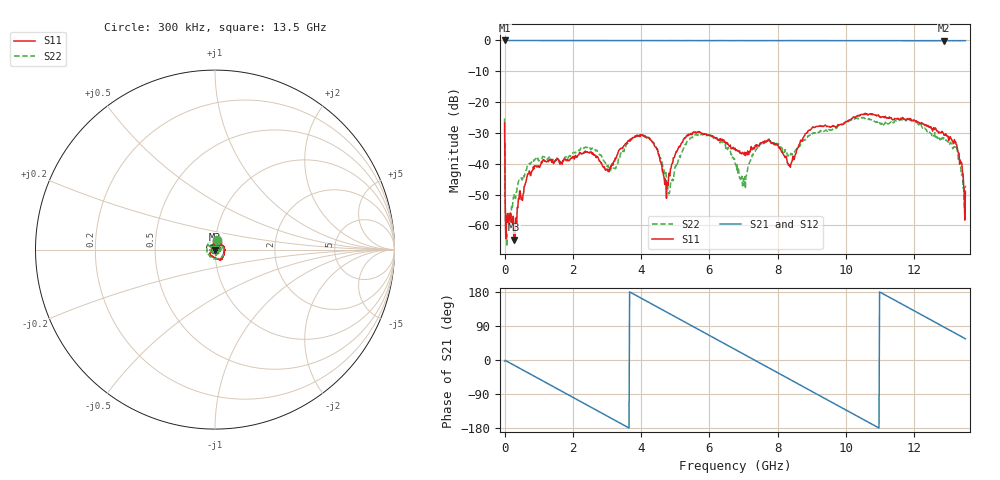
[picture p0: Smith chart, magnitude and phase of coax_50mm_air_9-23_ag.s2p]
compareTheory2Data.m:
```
%compareTheory2data
eps0=8.85418782e-12; % F/m
mu0=1.2566370614e-6; % H/m
c0=1/sqrt(eps0*mu0);
eta0=sqrt(mu0/eps0); % free space
material_width = 1.78e-3;
device_length = 41e-3;
l = (device_length - material_width)/2;
t = material_width;
%%
%Theoretical values
load(sprintf('%s\\Materials\\dd13490_data.mat',pwd))
permittivity = real_mittiv - 1i*imag_mittiv;
permeability = real_meab - 1i*imag_meab;
[t11,t21] = generateSParamters2(permittivity,permeability,device_length,material_width,frequency*1e9);
t_frequency = frequency*1e9;
tk0 = 2*pi*t_frequency/c0;
%%
% Measured Values
airFile = 'coax_50mm_air_9-23_ag.s2p';
filelength = 203;
fftlength = 801;
[a11,a21,a12,a22,a_frequency] = s2pToComplexSParam(airFile,filelength);
materialFile = 'coax_50mm_dd13490_1p78mm_9-20_RS.dat';
ak0 = 2*pi*a_frequency/c0;
[s11,s21,s12,s22,m_frequency] = s2pToComplexSParam_v2(materialFile,filelength);
fudgeFactor = (unwrap(angle(s11)) - unwrap(angle(s22)))/2;
s11 = s11.*exp(-1i*fudgeFactor);
s22 = s22.*exp(1i*fudgeFactor);
mk0 = 2*pi*m_frequency/c0;
```
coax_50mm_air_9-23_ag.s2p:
!Agilent Technologies,N5230C,MY48100320,A.08.04.10
!Agilent N5230C: A.08.04.10
!Date: Friday, September 23, 2016 16:38:28
!Correction: S11(Full 2 Port(1,2))
!S21(Full 2 Port(1,2))
!S12(Full 2 Port(1,2))
!S22(Full 2 Port(1,2))
!S2P File: Measurements: S11, S21, S12, S22:
# Hz S  dB  R 50
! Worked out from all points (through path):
!   801 points, 300 kHz to 13.5 GHz, reference 50 ohm
!   highest |S21| = 0.01 dB at 17.17 MHz (marker M1); lowest = -0.1 dB at 12.86 GHz (marker M2)
!   group delay of S21, straight-line fit = 137 ps
!   lowest |S11| = -64.6 dB at 270.3 MHz (marker M3), VSWR 1.00, Z = 50 + j0.0523 ohm
!   |S11| at or under -10 dB: start of sweep to end of sweep
!   |S22| runs from -66.8 to -24.9 dB; largest |S21 - S12| = 0.0055
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300000  -26.89 78.2  -0.07 -2.8  -0.07 -2.8  -25.35 77.0
1.717462e7  -53.17 121.2  0.01 -1.0  0.00 -1.0  -51.78 92.8
2.70294e8  -64.63 63.0  -0.01 -13.4  -0.01 -13.4  -50.73 26.4
1.907133e9  -38.91 -23.8  -0.03 -93.9  -0.03 -93.9  -37.42 32.2
3.628344e9  -32.46 38.5  -0.03 -178.6  -0.05 -178.6  -32.97 149.1
5.282058e9  -31.76 109.9  -0.04 100.1  -0.05 100.1  -33.83 -79.1
6.75015e9  -34.94 -78.4  -0.04 27.9  -0.05 27.9  -39.75 -69.8
9.264469e9  -27.76 -136.3  -0.05 -95.8  -0.06 -95.8  -29.34 135.4
1.10363e10  -24.84 -41.8  -0.07 177.2  -0.08 177.2  -27.20 -141.1
1.285876e10  -30.17 73.1  -0.09 87.6  -0.06 87.7  -31.95 -81.0
1.35e10  -49.18 -101.9  -0.07 56.0  -0.06 56.1  -47.10 80.2
